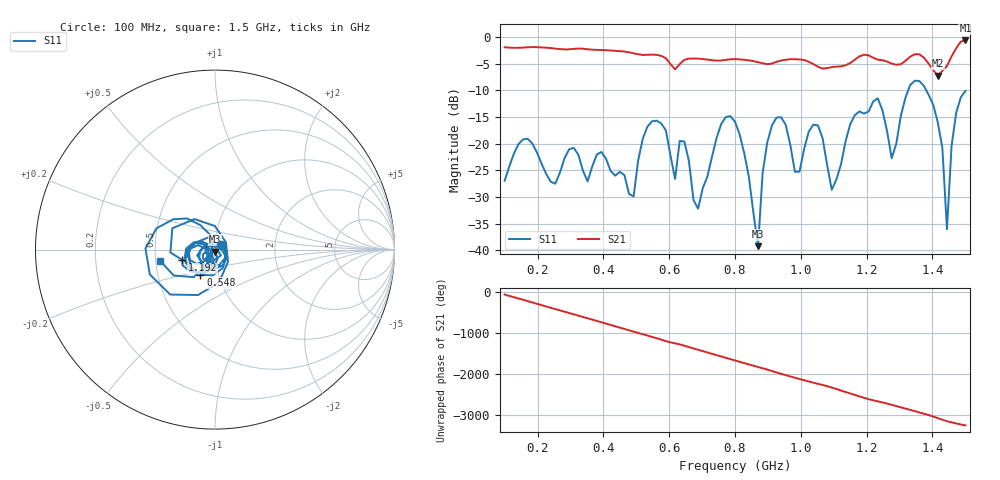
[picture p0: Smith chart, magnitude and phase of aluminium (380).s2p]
! NanoVNA-App
! Date: 2025-09-25 14:58:14
! Start: 100MHz Stop: 1,5GHz Points: 101
! S-Parameter data: F S11 S21 S12 S22
# Hz S RI R 50
!  Frequency  S11_Real  S11_Imag  S21_Real  S21_Imag  S12_Real  S12_Imag  S22_Real  S22_Imag
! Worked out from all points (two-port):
!   101 points, 100 MHz to 1.5 GHz, reference 50 ohm
!   highest |S21| = -0.65 dB at 1.5 GHz (marker M1); lowest = -7.2 dB at 1.416 GHz (marker M2)
!   |S21| within 3 dB of the highest: start of sweep to 579.6 MHz; 1.458 GHz to end of sweep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
!   lowest |S11| = -39.2 dB at 870 MHz (marker M3), VSWR 1.02, Z = 50.2 - j1.08 ohm
!   |S11| at or under -10 dB: start of sweep to 1.326 GHz; 1.381 GHz to end of sweep
!   S12 and S22 are empty: the file has one direction only
!   S11 on the Smith chart (normalised r, x): 100 MHz: 1.07, +0.06; 548 MHz: 0.82, -0.24; 1.192 GHz: 0.69, -0.08; 1.5 GHz: 0.53, -0.07
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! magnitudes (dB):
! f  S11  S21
! 100 MHz  -27.0  -1.9
! 156 MHz  -19.2  -2.0
! 338 MHz  -25.1  -2.2
! 492 MHz  -29.9  -3.1
! 548 MHz  -15.8  -3.3
! 576 MHz  -16.2  -3.5
! 646 MHz  -19.6  -4.3
! 688 MHz  -32.2  -4.1
! 800 MHz  -15.9  -4.1
! 870 MHz  -39.2  -4.7
! 912 MHz  -16.6  -5.0
! 982 MHz  -25.3  -4.2
! 1.038 GHz  -16.4  -5.1
! 1.094 GHz  -28.7  -5.7
! 1.192 GHz  -14.4  -3.3
! 1.234 GHz  -11.5  -4.3
! 1.276 GHz  -22.7  -5.0
! 1.346 GHz  -8.2  -3.2
! 1.416 GHz  -16.0  -7.2
! 1.444 GHz  -36.1  -5.4
! 1.458 GHz  -20.4  -3.6
! 1.5 GHz  -10.1  -0.7
